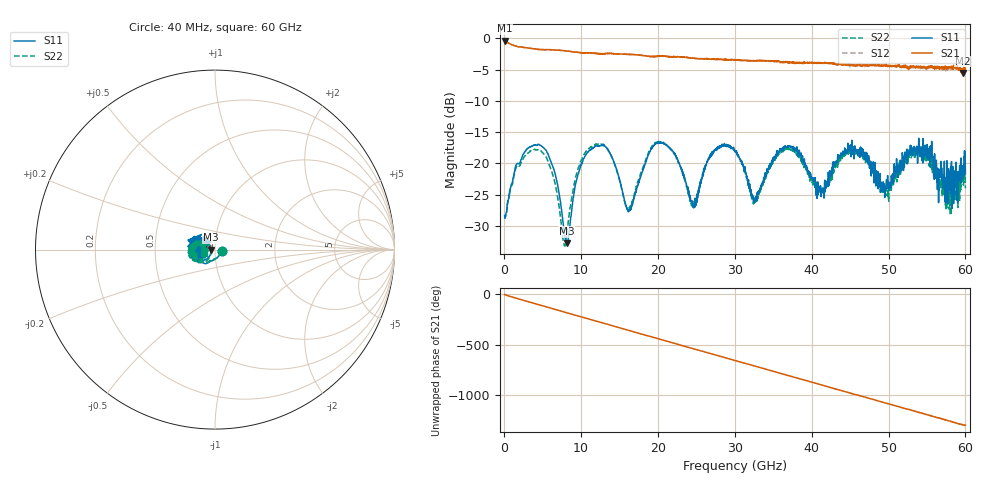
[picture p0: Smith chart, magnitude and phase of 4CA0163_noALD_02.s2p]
! File created by 'SoftPlot +Plus+ Measurement Management Software'
! SoftPlot +Plus+ Measurement Management Software
! Start 40.000000 MHz  Stop 60.000000 GHz  Points 1601
# MHZ S RI R 50
! S-Parameter data, F S11 S21 S12 S22
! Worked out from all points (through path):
!   1601 points, 40 MHz to 60 GHz, reference 50 ohm
!   highest |S21| = -0.36 dB at 40 MHz (marker M1); lowest = -5.5 dB at 59.66 GHz (marker M2)
!   group delay of S21, straight-line fit = 60.2 ps
!   lowest |S11| = -32.7 dB at 8.097 GHz (marker M3), VSWR 1.05, Z = 47.7 - j0.0424 ohm
!   |S11| at or under -10 dB: start of sweep to end of sweep
!   |S22| runs from -33.2 to -16.5 dB; largest |S21 - S12| = 0.05
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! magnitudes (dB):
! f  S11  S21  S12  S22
! 40 MHz  -28.3  -0.4  -0.4  -28.3
! 1.576 GHz  -20.2  -1.3  -1.3  -20.6
! 4.649 GHz  -17.1  -1.8  -1.8  -17.9
! 6.523 GHz  -21.2  -1.9  -1.9  -22.8
! 8.097 GHz  -32.7  -2.0  -2.0  -31.6
! 10.05 GHz  -20.2  -2.3  -2.3  -19.4
! 13.16 GHz  -17.3  -2.5  -2.5  -17.3
! 16.15 GHz  -27.7  -2.6  -2.6  -27.3
! 20.05 GHz  -16.7  -2.9  -2.9  -16.5
! 24.55 GHz  -26.7  -3.2  -3.2  -26.9
! 27.02 GHz  -18.7  -3.4  -3.3  -18.4
! 30.02 GHz  -18.2  -3.4  -3.4  -18.0
! 32.49 GHz  -26.2  -3.6  -3.7  -26.5
! 36.58 GHz  -17.4  -3.8  -3.9  -17.8
! 40.03 GHz  -22.3  -3.8  -4.0  -22.4
! 41.52 GHz  -24.5  -3.9  -4.0  -24.1
! 45.16 GHz  -17.0  -4.3  -4.4  -17.8
! 50.03 GHz  -24.3  -4.5  -4.5  -26.1
! 53.03 GHz  -17.9  -4.5  -4.7  -18.2
! 57.68 GHz  -23.2  -4.7  -5.1  -25.3
! 59.66 GHz  -20.4  -5.5  -4.9  -23.2
! 60 GHz  -21.6  -4.9  -5.3  -24.0
